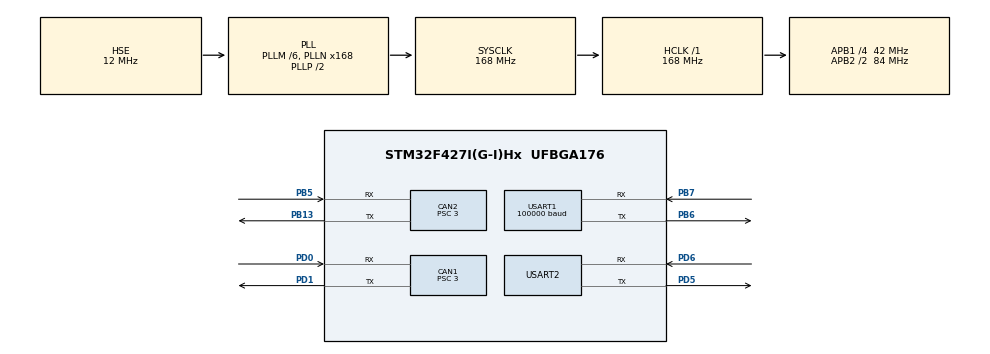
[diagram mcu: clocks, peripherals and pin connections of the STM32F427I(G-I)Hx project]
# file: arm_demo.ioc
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CAN1.ABOM=ENABLE
CAN1.BS1=CAN_BS1_10TQ
CAN1.BS2=CAN_BS2_3TQ
CAN1.CalculateBaudRate=1000000
CAN1.CalculateTimeBit=1000
CAN1.CalculateTimeQuantum=71.42857142857143
CAN1.NART=ENABLE
CAN1.Prescaler=3
CAN2.BS1=CAN_BS1_10TQ
CAN2.BS2=CAN_BS2_3TQ
CAN2.CalculateBaudRate=1000000
CAN2.CalculateTimeBit=1000
CAN2.CalculateTimeQuantum=71.42857142857143
CAN2.Prescaler=3
Dma.Request0=USART1_RX
Dma.USART1_RX.0.Direction=DMA_PERIPH_TO_MEMORY
Dma.USART1_RX.0.FIFOMode=DMA_FIFOMODE_DISABLE
Dma.USART1_RX.0.Instance=DMA2_Stream2
Dma.USART1_RX.0.MemDataAlignment=DMA_MDATAALIGN_BYTE
Dma.USART1_RX.0.MemInc=DMA_MINC_ENABLE
Dma.USART1_RX.0.Mode=DMA_CIRCULAR
Dma.USART1_RX.0.PeriphDataAlignment=DMA_PDATAALIGN_BYTE
Dma.USART1_RX.0.PeriphInc=DMA_PINC_DISABLE
Dma.USART1_RX.0.Priority=DMA_PRIORITY_LOW
FREERTOS.Tasks01=defaultTask,24,128,StartDefaultTask,Default,NULL,Dynamic,NULL,NULL
Mcu.Family=STM32F4
Mcu.Name=STM32F427I(G-I)Hx
Mcu.Package=UFBGA176
NVIC.CAN1_RX0_IRQn=true\:5\:0\:false\:false\:true\:true\:true\:true\:true
NVIC.DMA2_Stream2_IRQn=true\:5\:0\:false\:false\:true\:true\:false\:true\:true
NVIC.PriorityGroup=NVIC_PRIORITYGROUP_4
NVIC.TIM6_DAC_IRQn=true\:15\:0\:false\:false\:true\:false\:false\:true\:true
NVIC.TimeBase=TIM6_DAC_IRQn
NVIC.TimeBaseIP=TIM6
NVIC.USART1_IRQn=true\:5\:0\:false\:false\:true\:true\:true\:true\:true
PA13.Mode=Serial_Wire
PA13.Signal=SYS_JTMS-SWDIO
PA14.Mode=Serial_Wire
PA14.Signal=SYS_JTCK-SWCLK
PB13.Mode=CAN_Activate
PB13.Signal=CAN2_TX
PB5.Mode=CAN_Activate
PB5.Signal=CAN2_RX
PB6.Mode=Asynchronous
PB6.Signal=USART1_TX
PB7.Mode=Asynchronous
PB7.Signal=USART1_RX
PD0.Mode=CAN_Activate
PD0.Signal=CAN1_RX
PD1.Mode=CAN_Activate
PD1.Signal=CAN1_TX
PD5.Mode=Asynchronous
PD5.Signal=USART2_TX
PD6.Mode=Asynchronous
PD6.Signal=USART2_RX
PH0/OSC_IN.Mode=HSE-External-Oscillator
PH0/OSC_IN.Signal=RCC_OSC_IN
PH1/OSC_OUT.Mode=HSE-External-Oscillator
PH1/OSC_OUT.Signal=RCC_OSC_OUT
ProjectManager.HeapSize=0x200
ProjectManager.StackSize=0x400
ProjectManager.TargetToolchain=MDK-ARM V5.32
RCC.48MHZClocksFreq_Value=84000000
RCC.AHBFreq_Value=168000000
RCC.APB1CLKDivider=RCC_HCLK_DIV4
RCC.APB1Freq_Value=42000000
RCC.APB1TimFreq_Value=84000000
RCC.APB2CLKDivider=RCC_HCLK_DIV2
RCC.APB2Freq_Value=84000000
RCC.APB2TimFreq_Value=168000000
RCC.CortexFreq_Value=168000000
RCC.HCLKFreq_Value=168000000
RCC.HSE_VALUE=12000000
RCC.HSI_VALUE=16000000
RCC.LSE_VALUE=32768
RCC.PLLM=6
RCC.PLLN=168
RCC.PLLSourceVirtual=RCC_PLLSOURCE_HSE
RCC.SYSCLKFreq_VALUE=168000000
RCC.SYSCLKSource=RCC_SYSCLKSOURCE_PLLCLK
RCC.VCOOutputFreq_Value=336000000
USART1.BaudRate=100000
USART1.Mode=MODE_RX
USART1.Parity=PARITY_EVEN
USART1.StopBits=STOPBITS_2
USART1.VirtualMode=VM_ASYNC
USART2.VirtualMode=VM_ASYNC
VP_FREERTOS_VS_CMSIS_V2.Mode=CMSIS_V2
VP_SYS_VS_tim6.Mode=TIM6
board=custom

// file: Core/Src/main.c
/* USER CODE BEGIN Header */
/**
  ******************************************************************************
  * @file           : main.c
  * @brief          : Main program body
  ******************************************************************************
  * @attention
  *
  * Copyright (c) 2026 STMicroelectronics.
  * All rights reserved.
  *
  * This software is licensed under terms that can be found in the LICENSE file
  * in the root directory of this software component.
  * If no LICENSE file comes with this software, it is provided AS-IS.
  *
  ******************************************************************************
  */
/* USER CODE END Header */
#include "main.h"
#include "cmsis_os.h"
#include "can.h"
#include "dma.h"
#include "usart.h"
#include "gpio.h"

void SystemClock_Config(void);
void MX_FREERTOS_Init(void);

int main(void)
{

  /* MCU Configuration--------------------------------------------------------*/

  /* Reset of all peripherals, Initializes the Flash interface and the Systick. */
  HAL_Init();

  /* Configure the system clock */
  SystemClock_Config();

  /* Initialize all configured peripherals */
  MX_GPIO_Init();
  MX_DMA_Init();
  MX_CAN1_Init();
  MX_USART1_UART_Init();
  MX_USART2_UART_Init();
  MX_CAN2_Init();

  /* Init scheduler */
  osKernelInitialize();  /* Call init function for freertos objects (in cmsis_os2.c) */
  MX_FREERTOS_Init();

  /* Start scheduler */
  osKernelStart();

  /* We should never get here as control is now taken by the scheduler */

  /* Infinite loop */
  while (1)
  {

  }
}

void SystemClock_Config(void)
{
  RCC_OscInitTypeDef RCC_OscInitStruct = {0};
  RCC_ClkInitTypeDef RCC_ClkInitStruct = {0};

  /** Configure the main internal regulator output voltage
  */
  __HAL_RCC_PWR_CLK_ENABLE();
  __HAL_PWR_VOLTAGESCALING_CONFIG(PWR_REGULATOR_VOLTAGE_SCALE1);

  /** Initializes the RCC Oscillators according to the specified parameters
  * in the RCC_OscInitTypeDef structure.
  */
  RCC_OscInitStruct.OscillatorType = RCC_OSCILLATORTYPE_HSE;
  RCC_OscInitStruct.HSEState = RCC_HSE_ON;
  RCC_OscInitStruct.PLL.PLLState = RCC_PLL_ON;
  RCC_OscInitStruct.PLL.PLLSource = RCC_PLLSOURCE_HSE;
  RCC_OscInitStruct.PLL.PLLM = 6;
  RCC_OscInitStruct.PLL.PLLN = 168;
  RCC_OscInitStruct.PLL.PLLP = RCC_PLLP_DIV2;
  RCC_OscInitStruct.PLL.PLLQ = 4;
  if (HAL_RCC_OscConfig(&RCC_OscInitStruct) != HAL_OK)
  {
    Error_Handler();
  }

  /** Initializes the CPU, AHB and APB buses clocks
  */
  RCC_ClkInitStruct.ClockType = RCC_CLOCKTYPE_HCLK|RCC_CLOCKTYPE_SYSCLK
                              |RCC_CLOCKTYPE_PCLK1|RCC_CLOCKTYPE_PCLK2;
  RCC_ClkInitStruct.SYSCLKSource = RCC_SYSCLKSOURCE_PLLCLK;
  RCC_ClkInitStruct.AHBCLKDivider = RCC_SYSCLK_DIV1;
  RCC_ClkInitStruct.APB1CLKDivider = RCC_HCLK_DIV4;
  RCC_ClkInitStruct.APB2CLKDivider = RCC_HCLK_DIV2;

  if (HAL_RCC_ClockConfig(&RCC_ClkInitStruct, FLASH_LATENCY_5) != HAL_OK)
  {
    Error_Handler();
  }
}

void HAL_TIM_PeriodElapsedCallback(TIM_HandleTypeDef *htim)
{
  if (htim->Instance == TIM6)
  {
    HAL_IncTick();
  }
}

void Error_Handler(void)
{
  __disable_irq();
  while (1)
  {
  }
}

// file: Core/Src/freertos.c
/* USER CODE BEGIN Header */
/**
  ******************************************************************************
  * File Name          : freertos.c
  * Description        : Code for freertos applications
  ******************************************************************************
  * @attention
  *
  * Copyright (c) 2026 STMicroelectronics.
  * All rights reserved.
  *
  * This software is licensed under terms that can be found in the LICENSE file
  * in the root directory of this software component.
  * If no LICENSE file comes with this software, it is provided AS-IS.
  *
  ******************************************************************************
  */
/* USER CODE END Header */

#include "FreeRTOS.h"
#include "task.h"
#include "main.h"
#include "cmsis_os.h"

/* Definitions for defaultTask */
osThreadId_t defaultTaskHandle;
const osThreadAttr_t defaultTask_attributes = {
  .name = "defaultTask",
  .stack_size = 128 * 4,
  .priority = (osPriority_t) osPriorityNormal,
};

/* USER CODE BEGIN FunctionPrototypes */
osThreadId_t rc_taskHandle;
const osThreadAttr_t rc_task_attributes = {
    .name = "rc_task",
    .stack_size = 256 * 4,
    .priority = (osPriority_t)osPriorityNormal1,
};
extern void rc_task(void *argument);

osThreadId_t motor_taskHandle;
const osThreadAttr_t motor_task_attributes = {
    .name = "motor_task",
    .stack_size = 256 * 4,
    .priority = (osPriority_t)osPriorityNormal2,
};
extern void motor_task(void *argument);

osThreadId_t arm_taskHandle;
const osThreadAttr_t arm_task_attributes = {
    .name = "arm_task",
    .stack_size = 256 * 4,
    .priority = (osPriority_t)osPriorityNormal1,
};
extern void arm_task(void *argument);
/* USER CODE END FunctionPrototypes */

void StartDefaultTask(void *argument);

void MX_FREERTOS_Init(void); /* (MISRA C 2004 rule 8.1) */

void MX_FREERTOS_Init(void) {

  /* Create the thread(s) */
  /* creation of defaultTask */
  defaultTaskHandle = osThreadNew(StartDefaultTask, NULL, &defaultTask_attributes);

  /* USER CODE BEGIN RTOS_THREADS */
  /* add threads, ... */
  rc_taskHandle = osThreadNew(rc_task, NULL, &rc_task_attributes);
  motor_taskHandle = osThreadNew(motor_task, NULL, &motor_task_attributes);
  arm_taskHandle = osThreadNew(arm_task, NULL, &arm_task_attributes);
  /* USER CODE END RTOS_THREADS */

}

void StartDefaultTask(void *argument)
{
  for(;;)
  {
    osDelay(1);
  }
}
